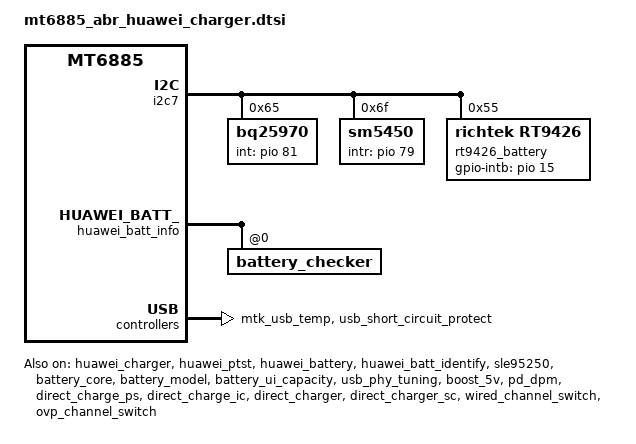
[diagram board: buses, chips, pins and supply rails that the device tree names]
&charger {
	ac_charger_current = <2695000>;
	ac_charger_input_current = <2300000>;
	fcp_charger_current = <2500000>;
	fcp_charger_input_current = <1400000>;
	non_std_ac_charger_current = <1200000>;
	pd_vbus_upper_bound = <9000000>;
	max_charger_voltage = <12000000>;
	bc12_charger = <0>; /* usb switch do bc12 */
	dpm_enable;
	battery_cv = <4470000>;
	iterm = <150000>;
	vbus_max_limit = <11500>;
	jeita_temp_above_t4_cv = <4100000>;
	jeita_temp_t3_to_t4_cv = <4100000>;
	jeita_temp_t2_to_t3_cv = <4450000>;
	jeita_temp_t1_to_t2_cv = <4450000>;
	jeita_temp_t0_to_t1_cv = <4450000>;
	jeita_temp_below_t0_cv = <4100000>;
	jeita_temp_t3_to_t4_cur = <1400000>;
	jeita_temp_t2_to_t3_cur = <2800000>;
	jeita_temp_t1_to_t2_cur = <1200000>;
	jeita_temp_t0_to_t1_cur = <400000>;
	temp_t4_thres = <50>;
	temp_t4_thres_minus_x_degree = <49>;
	temp_t3_thres = <45>;
	temp_t3_thres_minus_x_degree = <44>;
	temp_t2_thres = <10>;
	temp_t2_thres_plus_x_degree = <10>;
	temp_t1_thres = <5>;
	temp_t1_thres_plus_x_degree = <5>;
	temp_t0_thres = <0>;
	temp_t0_thres_plus_x_degree = <0>;
	vdpm_buf_limit = <100>;
	vdpm_para =
			"-32767", "4000", "4300", "50",
			"4000", "4200", "4500", "50",
			"4200", "32767", "4600", "50";
	charge_full_design = <4200000>;
	enable_dynamic_mivr;
};

&pio {
	bq25970_irq_pins_default: bq25970_irq_pins_default {
		pins_cmd_dat {
			pinmux = <PINMUX_GPIO81__FUNC_GPIO81>;
			slew-rate = <0>;
			bias-pull-up;
		};
	};

	sm5450_irq_pins_default: sm5450_irq_pins_default {
		pins_cmd_dat {
			pinmux = <PINMUX_GPIO79__FUNC_GPIO79>;
			slew-rate = <0>;
			bias-pull-up;
		};
	};

	hi6526_irq_pins_default: hi6526_irq_pins_default {
		pins_cmd_dat {
			pinmux = <PINMUX_GPIO79__FUNC_GPIO79>;
			slew-rate = <0>;
			bias-pull-up;
		};
	};

	rt9426_irq_pins_default: rt9426_irq_pins_default {
		pins_cmd_dat {
			pinmux = <PINMUX_GPIO15__FUNC_GPIO15>;
			slew-rate = <0>;
			bias-pull-up;
		};
	};
	bq27z561_irq_pins_default: bq27z561_irq_pins_default {
		pins_cmd_dat {
			pinmux = <PINMUX_GPIO15__FUNC_GPIO15>;
			slew-rate = <0>;
			bias-pull-up;
		};
	};
	battct_swi_pins_default: battct_swi_pins_default {
		pins_cmd_dat {
			pinmux = <PINMUX_GPIO127__FUNC_GPIO127>;
			slew-rate = <0>;
			bias-disabled;
			input-enable;
		};
	};
	battct_id_pins_default: battct_id_pins_default {
		pins_cmd_dat {
			pinmux = <PINMUX_GPIO9__FUNC_GPIO9>;
			slew-rate = <0>;
			bias-disabled;
			output-high;
		};
	};
};

&i2c7 {
	#address-cells = <1>;
	#size-cells = <0>;
	bq25970@65 {
		compatible = "bq25970";
		pinctrl-names = "default";
		pinctrl-0 = <&bq25970_irq_pins_default>;
		gpio_int = <&pio 81 0x0>;
		switching_frequency = <675>;
		sense_r_config = <20>;
		sense_r_actual = <10>;
		reg = <0x65>;
		status = "ok";
	};

	sm5450@6F {
		compatible = "sm5450";
		reg = <0x6F>;
		pinctrl-names = "default";
		pinctrl-0 = <&sm5450_irq_pins_default>;
		intr_gpio_num = <79>; /* direct defined GPIO num */
		intr_gpio = <&pio 79 0>;
		adc_channel_vbat_sys = <14>;
		sense_r_actual = <10>;
		fcp_support = <1>;
		scp_support = <1>;
		lvc_ibat_regulator = <12200>;
		lvc_vbat_regulator = <4500>;
		lvc_vout_regulator = <4550>;
		lvc_ibus_regulator = <5600>;
		sc_ibat_regulator = <12200>;
		sc_vbat_regulator = <4500>;
		sc_vout_regulator = <4550>;
		sc_ibus_regulator = <5600>;
		lvc_vusb2vbus_drop_en = <1>;
		sc_vusb2vbus_drop_en = <1>;
		bat_comp = <30>;
		vclamp = <90>;
		r_coul_mohm = <5>;
		ic_role = <1>;
		switching_frequency = <675>;
		status = "ok";
	};

	hi6526_charger@6B{
		compatible = "huawei,hi6526_charger";
		reg = <0x6B>;
		pinctrl-names = "default";
		pinctrl-0 = <&hi6526_irq_pins_default>;
		dbg_check_en = <1>;
		intr_gpio_num = <79>; /* direct defined GPIO num */
		intr_gpio = <&pio 79 0x0>;
		bat_comp = <60>;
		vclamp = <192>;
		fcp_support = <1>;
		scp_support = <1>;
		lvc_ibat_regulator = <12200>;
		lvc_vbat_regulator = <4500>;
		lvc_vout_regulator = <4550>;
		lvc_ibus_regulator = <5600>;
		sc_ibat_regulator = <12200>;
		sc_vbat_regulator = <4500>;
		sc_vout_regulator = <4550>;
		sc_ibus_regulator = <5000>;
		lvc_vusb2vbus_drop_en = <1>;
		sc_vusb2vbus_drop_en = <1>;
		/* loop mode must be turned off, if temperature channels need to be acquired */
		adc_single_mode_en = <0>;
		adc_tsbat_support = <0>;
		vusb_uv_flag = <1>;
		r_coul_mohm = <1>;
		ic_role = <0>;
		status = "disabled";
	};

	bq27z561_fg@55 {
		reg = <0x55>;
		compatible = "huawei,bq27z561";
		status = "disabled";
		pinctrl-names = "default";
		pinctrl-0 = <&bq27z561_irq_pins_default>;
		bq27z561,gpio-intb = <&pio 15 0x0>;
		ntc_compensation_is = <1>;
		ntc_temp_compensation_para =
			"11000", "140",
			"10000", "120",
			"9000", "100",
			"8000", "80",
			"7000", "60",
			"6000", "50",
			"5000", "40",
			"3000", "20",
			"2000", "10";
		batt_default_name = "ti_BCYCAE_4480_4000mah_BT185";
		#include "ti_BCYCAE_4480_4000mah_BT185.dtsi"
	};

	rt9426_battery@55{
		reg = <0x55>;
		rt,bat_name = "rt_battery";
		compatible = "richtek,rt9426";
		rt_config_ver = <8>;
		pinctrl-names = "default";
		pinctrl-0 = <&rt9426_irq_pins_default>;
		rt9426,gpio-intb = <&pio 15 0x0>;
		rt,dtsi_version = <02 1231>;
		rt,battery_type = <4400>;
		rt,volt_source = <3>; /* 0:AP 1:FG_VBAT 2:FG_OCV; 3:FG_AV */
		rt,temp_source = <1>; /* 0:AP 1:FG_TEMP 2:FG_INTT; 3:FG_AT */
		rt,curr_source = <2>; /* 0:AP 1:FG_CURR 2:FG_AI */
		rt,offset_interpolation_order = <2 2>;
		rt,soc_offset_size = <2 1>;
		rt,soc_offset_data = < 0 250 0 1000 250 0>;
		rt,extreg_size = <31>;
		rt,extreg_data = <
			0x1 0x4A 0x320B
			0x1 0x4C 0x0411
			0x1 0x4E 0x2828
			0x2 0x4E 0x2404
			0x3 0x4E 0xB71C
			0x5 0x48 0x020A
			0x5 0x4C 0x3223
			0x5 0x4E 0x0014
			0x6 0x40 0x8813
			0x6 0x42 0x8224
			0x6 0x44 0xAD77
			0x6 0x48 0xA312
			0x6 0x4A 0x6852
			0x6 0x4C 0x6457
			0x6 0x4E 0x3162
			0x7 0x40 0x0F19
			0x7 0x42 0x0606
			0x7 0x44 0x0606
			0x7 0x46 0x0000
			0x7 0x48 0x0000
			0x7 0x4A 0x0404
			0x7 0x4C 0x0004
			0x7 0x4E 0xFDFE
			0x8 0x40 0x05FC
			0x8 0x42 0x0505
			0x8 0x44 0xFDFD
			0x8 0x46 0xF9FB
			0x8 0x48 0x0505
			0x8 0x4A 0xEA05
			0x8 0x4C 0xD9EA
			0x8 0x4E 0x00C7 >;
		rt,design_capacity = <1600>;
		rt,fcc = <1580>;
		rt,fg_fc_vth = <0xA3>;
		rt,fg_fc_ith = <0x67>;
		rt,fg_fc_sth = <0x05>;
		rt,fg_fd_vth = <0x91>;
		rt,fg_op_config = <0x3400 0x0000 0x3CFB 0x2000 0x087E>;
		rt,fg_otc_tth = <0x0064>;
		rt,fg_otc_chg_ith = <0x045F>;
		rt,fg_otd_tth = <0x0064>;
		rt,fg_otd_dchg_ith = <0x045F>;
		rt,fg_uvov_threshold = <0x00FF>;
		rt,fg_us_threshold = <0x00>;
		rt,fg_curr_db = <0x04>;
		rt,rs_ic_setting = <250>; /* unit:0.01mR; 250x0.01 = 2.5mR */
		rt,rs_schematic = <100>; /* unit:0.01mR; 100x0.01 = 1.0mR */
		rt,fg_ocv_table = <0x0013 0x4B00 0x5000 0x5733 0x5B53 0x5C0D 0x5CD3 0x5E4D
			0x5FCD 0x60DA 0x61C0 0x62DA 0x63BA 0x662D 0x686D 0x69C6
			0x6AED 0x6BB3 0x6E00 0x706D 0x1400 0x0733 0x032C 0x00C3
			0x0033 0x004F 0x002F 0x003F 0x0055 0x0098 0x0080 0x007C
			0x008C 0x008D 0x008C 0x0058 0x00AB 0x00F8 0x0013 0xFF80
			0x0000 0x0200 0x049A 0x0680 0x0E4D 0x17E6 0x281A 0x309A
			0x3600 0x39B3 0x3D33 0x474D 0x4F80 0x5466 0x589A 0x5D1A
			0x6400 0x6900 0x000D 0x0024 0x0051 0x014F 0x0508 0x0341
			0x0566 0x040C 0x0300 0x01AF 0x0200 0x0210 0x01D2 0x01D1
			0x01D3 0x02E7 0x0180 0x0108 0x6D6A 0x0000 0x0000 0x0000>;
		ntc_compensation_is = <1>;
		ntc_temp_compensation_para =
			"11000", "140",
			"10000", "120",
			"9000", "100",
			"8000", "80",
			"7000", "60",
			"6000", "50",
			"5000", "40",
			"3000", "20",
			"2000", "10";
		status = "ok";
	};
};
&huawei_charger {
	compatible = "huawei,charger";
	status = "ok";
};

&huawei_ptst {
	compatible = "huawei,power_test";
	status = "ok";
};

&huawei_battery {
	compatible = "huawei,battery";
	voltage_max_design = <4430000>;
	use_third_coul = <1>;
	status = "ok";
};

&huawei_batt_identify {
	pinctrl-names = "default";
	pinctrl-0 = <&battct_id_pins_default>;
	gpios = <&pio 127 0x0>;
	id_voltage_gpiov = <0 1>;
	id_sn_gpiov = <0 0>;
	status = "ok";
};

&huawei_batt_info {
	status = "ok";
	shield_ct_sign = <1>;
	battery_checker@0 {
		matchable = <&sle95250>;
		status = "ok";
	};
};

&sle95250 {
	pinctrl-names = "default";
	pinctrl-0 = <&battct_swi_pins_default>;
	onewire-gpio = <&pio 9 0x0>;
	product_id0 = <1>;
	product_id2 = <3>;
	gpio_sn_mode_val = <0>;
	dip_check = <0>;
	gpio_swi = <9>;
	gpio_id_mode = <127>;
	status = "ok";
};

&lk_charger{
	ac_charger_current = <1050000>;
	ac_charger_input_current = <1050000>;
	non_std_ac_charger_current = <1050000>;
	max_charger_voltage = <12000000>;
	is_power_path;
	poweron_charger_enable = <1>;
};

&bat_gm30 {
	status = "disabled";
	bat_para =
		"BIT_CAE", "240000", "340000";
	min_fcc = <2800000>;
	max_fcc = <4000000>;
	dlpt_optimization;
	ntc_compensation_is = <1>;
	ntc_temp_compensation_para =
		"12000", "120",
		"11000", "100",
		"10000", "80",
		"9000", "60",
		"8000", "40",
		"7000", "30",
		"6000", "20",
		"5000", "10";
	CAR_TUNE_VALUE = <(500)>;
	COM_FG_METER_RESISTANCE = <(20)>;
	#include "BT185_M_S_ZCV_table_4000mAh.dtsi"
};

&huawei_power_proxy  {
	status = "ok";
};

&huawei_power_supply {
	status = "ok";
};

&battery_core {
	status = "ok";
};

&battery_model {
	bat_id_table =
		"BITCAE", "0", "0", "IA",
		"BCYCAE", "0", "0", "CA";
	design_fcc = <4200>;
	status = "ok";
};

&battery_ui_capacity {
	status = "ok";
};

&usb_phy_tuning {
	h_u2_vrt_ref = <7>;
	h_u2_term_ref = <7>;
	h_u2_enhance = <3>;
	d_u2_vrt_ref = <7>;
	d_u2_term_ref = <7>;
	d_u2_enhance = <3>;
	status = "ok";
};

&mt6360_pmu {
	mt6360,intr_gpio_num = <24>; /* direct defined GPIO num */
	mt6360,intr_gpio = <&pio 24 0x0>;
	chg {
		ieoc = <850000>;
	};
};

&boost_5v {
	boost_5v_use_common_pmic = <0>;
	gpio_5v_boost = <&pio 27 0x0>;
	status = "ok";
};

&pd_dpm {
        otg_channel = <0>;
        status = "ok";
};

&mt6360_typec {
	mt6360pd,intr_gpio_num = <25>; /* direct defined GPIO num */
	mt6360pd,intr_gpio = <&pio 25 0x0>;
};

&direct_charge_ps {
	status = "ok";
};

&direct_charge_ic {
	/* ic_index  path_index  max_ibat  ibat_sample_point  vbat_sample_point */
	ic_para1 =
		"1", "0", "0", "0", "0";
	ic_para2 =
		"0", "0", "0", "0", "0",
		"1", "1", "0", "0", "1";
	mode_para =
		"lvc_mode", "ic_para1",
		"sc_mode", "ic_para2";
	status = "ok";
};

&direct_charger {
	use_5A = <1>;
	scp_work_on_charger = <1>;
	need_wired_sw_off = <0>;
	volt_para =
		"4080", "5000", "4650",
		"4230", "4650", "2800",
		"4410", "2800", "1200";
	compensate_r = <20>;
	cc_cable_detect_enable = <1>;
	full_path_res_max = <220>;
	standard_cable_full_path_res_max = <260>;
	first_cc_stage_timer_in_min = <5>;
	stage_need_to_jump = "1";
	low_temp_hysteresis = <5>;
	temp_para =
		"-32767", "10", "0",
		"10", "45", "5000",
		"45", "32767", "0";
	rt_test_para =
		"2000", "105"; /* rt_curr_th rt_test_time */
	status = "ok";
};

&direct_charger_sc {
	use_8A = <1>;
	need_wired_sw_off = <0>;
	dc_volt_ratio = <2>;
	init_delt_vset = <450>;
	max_adaptor_vset = <11000>;
	init_adapter_vset = <8800>;
	vol_err_th = <500>;
	adaptor_leakage_current_th = <600>;
	vstep = <20>;
	min_dc_bat_vol = <3450>;
	max_dc_bat_vol = <4380>;
	max_current_for_none_standard_cable = <6000>;
	adaptor_antifake_check_enable = <1>;
	adaptor_antifake_key_index = <2>;
	support_multi_ic = <1>;
	multi_ic_ibat_th = <4000>;
	second_resist_check_en = <1>;
	second_path_res_report_th = <180>;
	ui_max_pwr = <40000>;
	product_max_pwr = <66000>;
	delta_err = <200>;
	single_ic_ibat_th = <5000>;
	volt_para =
		"4150", "8000", "6600",
		"4250", "6600", "4400",
		"4300", "4400", "3000",
		"4400", "3000", "2000";
	volt_para1 =
		"4250", "12200", "7200",
		"4300", "7200", "6600",
		"4380", "6600", "5300",
		"4420", "5300", "1200";
	time_para =
		"600", "6400",
		"360", "7700",
		"120", "9500";
	bat_para =
		"factory", "10", "20", "volt_para",
		"factory", "20", "45", "volt_para1",
		"CAE", "10", "20", "volt_para",
		"CAE", "20", "45", "volt_para1";
	vbat_comp_para =
		"bq25970", "43", "19",
		"rt9759", "47", "34";
	vstep_para =
		"2000", "80";
	compensate_r = <0>;
	cc_cable_detect_enable = <1>;
	full_path_res_max = <450>;
	scp_work_on_charger = <1>;
	standard_cable_full_path_res_max = <280>;
	first_cc_stage_timer_in_min = <10>;
	stage_need_to_jump = "-1";
	low_temp_hysteresis = <5>;
	current_ratio =
		"3", "10", "30", "2", "-1",
		"3", "12", "30", "1", "8000",
		"0", "12", "30", "0", "0";
	vbat_error =
		"3", "200", "2", "-1",
		"3", "200", "1", "8000";
	tbat_error =
		"3", "10", "2", "-1",
		"3", "7", "1", "8000";
	temp_para =
		"-32767", "10", "0",
		"10", "46", "12200",
		"46", "32767", "0";
	resist_para =
		"0", "260", "6000",
		"260", "450", "4000";
	std_resist_para =
		"0", "300", "0",
		"300", "450", "4000";
	second_resist_para =
		"0", "180", "0",
		"180", "450", "8000";
	rt_test_para =
		/* first:sc second:mainsc third:auxsc */
		"3000", "105",
		"3000", "105",
		"3000", "105";
	status = "ok";
};

&wired_channel_switch {
	use_ovp_cutoff_wired_channel = <1>;
	use_super_switch_cutoff_wired_channel = <0>;
	use_wireless_switch_cutoff_wired_channel = <0>;
	status = "ok";
};

&ovp_channel_switch {
	gpio_ovp_chsw_en = <&pio 111 0x0>;
	gpio_low_by_set_input = <0>;
	status = "ok";
};

&huawei_ptst {
	/* definition refered to huawei_power_test.dtsi */
	wlc_mmi = <1>;
	wlc_mmi_para = <10 0x07 1 0 0 0>;
	wl_hw_test = <1>;
	wl_hw_module = <0x1>;
	wlc_wp = <1>;
	wlc_wp_para = <1000>;
	status = "ok";
};

&power_thermalzone {
	status = "ok";
};

&mtk_usb_temp {
	using_mtcharger_adc = <1>;
	io-channels = <&adc 10>;
	status = "ok";
};

&usb_short_circuit_protect {
	gpio_usb_short_circuit_protect = <&pio 126 0>;
	uscp_threshold_tusb = <40>;
	open_mosfet_temp = <30>;
	close_mosfet_temp = <10>;
	interval_switch_temp = <15>;
	status = "ok";
};
